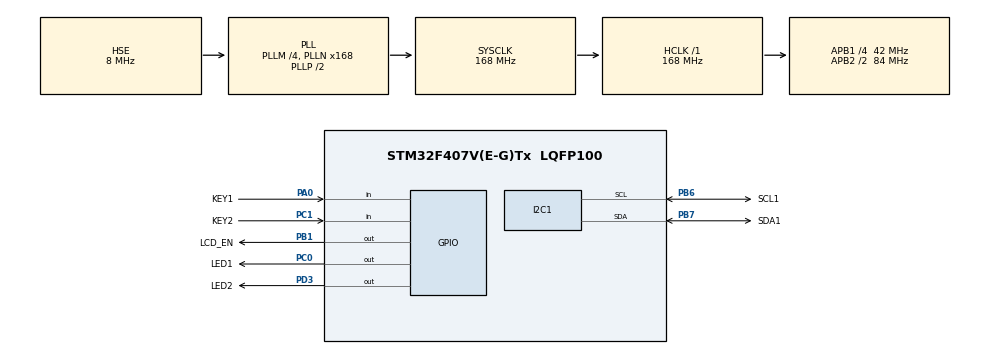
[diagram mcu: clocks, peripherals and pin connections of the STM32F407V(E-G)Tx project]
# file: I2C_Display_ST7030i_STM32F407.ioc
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FREERTOS.Tasks01=defaultTask,24,1024,StartDefaultTask,Default,NULL,Dynamic,NULL,NULL;myTask02,8,1024,StartTask02,Default,NULL,Dynamic,NULL,NULL
FREERTOS.configMINIMAL_STACK_SIZE=512
I2C1.I2C_Mode=I2C_Standard
Mcu.Family=STM32F4
Mcu.Name=STM32F407V(E-G)Tx
Mcu.Package=LQFP100
NVIC.I2C1_ER_IRQn=true\:5\:0\:false\:false\:true\:true\:true\:true
NVIC.I2C1_EV_IRQn=true\:5\:0\:false\:false\:true\:true\:true\:true
NVIC.PriorityGroup=NVIC_PRIORITYGROUP_4
NVIC.TIM7_IRQn=true\:0\:0\:false\:false\:true\:false\:false\:true
NVIC.TimeBase=TIM7_IRQn
NVIC.TimeBaseIP=TIM7
PA0-WKUP.GPIO_Label=KEY1
PA0-WKUP.GPIO_PuPd=GPIO_PULLDOWN
PA0-WKUP.Signal=GPIO_Input
PA13.Mode=Serial_Wire
PA13.Signal=SYS_JTMS-SWDIO
PA14.Mode=Serial_Wire
PA14.Signal=SYS_JTCK-SWCLK
PB1.GPIO_Label=LCD_EN
PB1.GPIO_PuPd=GPIO_PULLUP
PB1.GPIO_Speed=GPIO_SPEED_FREQ_HIGH
PB1.Signal=GPIO_Output
PB6.GPIO_Label=SCL1
PB6.Mode=I2C
PB6.Signal=I2C1_SCL
PB7.GPIO_Label=SDA1
PB7.Mode=I2C
PB7.Signal=I2C1_SDA
PC0.GPIO_Label=LED1
PC0.Signal=GPIO_Output
PC1.GPIO_Label=KEY2
PC1.GPIO_PuPd=GPIO_PULLDOWN
PC1.Signal=GPIO_Input
PD3.GPIO_Label=LED2
PD3.Signal=GPIO_Output
PH0-OSC_IN.Mode=HSE-External-Oscillator
PH0-OSC_IN.Signal=RCC_OSC_IN
PH1-OSC_OUT.Mode=HSE-External-Oscillator
PH1-OSC_OUT.Signal=RCC_OSC_OUT
ProjectManager.HeapSize=0x3000
ProjectManager.StackSize=0x6000
ProjectManager.TargetToolchain=TrueSTUDIO
RCC.48MHZClocksFreq_Value=84000000
RCC.AHBFreq_Value=168000000
RCC.APB1CLKDivider=RCC_HCLK_DIV4
RCC.APB1Freq_Value=42000000
RCC.APB1TimFreq_Value=84000000
RCC.APB2CLKDivider=RCC_HCLK_DIV2
RCC.APB2Freq_Value=84000000
RCC.APB2TimFreq_Value=168000000
RCC.CortexFreq_Value=168000000
RCC.HCLKFreq_Value=168000000
RCC.HSE_VALUE=8000000
RCC.HSI_VALUE=16000000
RCC.LSE_VALUE=32768
RCC.PLLM=4
RCC.PLLN=168
RCC.PLLSourceVirtual=RCC_PLLSOURCE_HSE
RCC.SYSCLKFreq_VALUE=168000000
RCC.SYSCLKSource=RCC_SYSCLKSOURCE_PLLCLK
RCC.VCOOutputFreq_Value=336000000
VP_FREERTOS_VS_CMSIS_V2.Mode=CMSIS_V2
VP_SYS_VS_tim7.Mode=TIM7
board=custom

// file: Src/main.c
/* USER CODE BEGIN Header */
/**
 ******************************************************************************
 * @file           : main.c
 * @brief          : Main program body
 ******************************************************************************
 * @attention
 *
 * <h2><center>&copy; Copyright (c) 2019 STMicroelectronics.
 * All rights reserved.</center></h2>
 *
 * This software component is licensed by ST under Ultimate Liberty license
 * SLA0044, the "License"; You may not use this file except in compliance with
 * the License. You may obtain a copy of the License at:
 *                             www.st.com/SLA0044
 *
 ******************************************************************************
 */
/* USER CODE END Header */

#include "main.h"
#include "cmsis_os.h"

/* USER CODE BEGIN Includes */

#include "ST7032i.h"

//#include "semphr.h"

/* USER CODE END Includes */

I2C_HandleTypeDef hi2c1;

osThreadId_t defaultTaskHandle;
osThreadId_t myTask02Handle;

void SystemClock_Config(void);
static void MX_GPIO_Init(void);
static void MX_I2C1_Init(void);
void StartDefaultTask(void *argument); // for v2
void StartTask02(void *argument); // for v2

int main(void)
{

	/* MCU Configuration--------------------------------------------------------*/

	/* Reset of all peripherals, Initializes the Flash interface and the Systick. */
	HAL_Init();

	/* Configure the system clock */
	SystemClock_Config();

	/* Initialize all configured peripherals */
	MX_GPIO_Init();
	MX_I2C1_Init();
	/* USER CODE BEGIN 2 */

	printf("start\n");

	/* USER CODE END 2 */

	osKernelInitialize(); // Initialize CMSIS-RTOS

	/* Create the thread(s) */
	/* definition and creation of defaultTask */
	const osThreadAttr_t defaultTask_attributes = {
			.name = "defaultTask",
			.priority = (osPriority_t) osPriorityNormal,
			.stack_size = 1024
	};
	defaultTaskHandle = osThreadNew(StartDefaultTask, NULL, &defaultTask_attributes);

	/* definition and creation of myTask02 */
	const osThreadAttr_t myTask02_attributes = {
			.name = "myTask02",
			.priority = (osPriority_t) osPriorityLow,
			.stack_size = 1024
	};
	myTask02Handle = osThreadNew(StartTask02, NULL, &myTask02_attributes);

	/* Start scheduler */
	osKernelStart();

	/* We should never get here as control is now taken by the scheduler */

	/* Infinite loop */
	while (1)
	{

	}
}

void SystemClock_Config(void)
{
	RCC_OscInitTypeDef RCC_OscInitStruct = {0};
	RCC_ClkInitTypeDef RCC_ClkInitStruct = {0};

	/** Configure the main internal regulator output voltage
	 */
	__HAL_RCC_PWR_CLK_ENABLE();
	__HAL_PWR_VOLTAGESCALING_CONFIG(PWR_REGULATOR_VOLTAGE_SCALE1);
	/** Initializes the CPU, AHB and APB busses clocks
	 */
	RCC_OscInitStruct.OscillatorType = RCC_OSCILLATORTYPE_HSE;
	RCC_OscInitStruct.HSEState = RCC_HSE_ON;
	RCC_OscInitStruct.PLL.PLLState = RCC_PLL_ON;
	RCC_OscInitStruct.PLL.PLLSource = RCC_PLLSOURCE_HSE;
	RCC_OscInitStruct.PLL.PLLM = 4;
	RCC_OscInitStruct.PLL.PLLN = 168;
	RCC_OscInitStruct.PLL.PLLP = RCC_PLLP_DIV2;
	RCC_OscInitStruct.PLL.PLLQ = 4;
	if (HAL_RCC_OscConfig(&RCC_OscInitStruct) != HAL_OK)
	{
		Error_Handler();
	}
	/** Initializes the CPU, AHB and APB busses clocks
	 */
	RCC_ClkInitStruct.ClockType = RCC_CLOCKTYPE_HCLK|RCC_CLOCKTYPE_SYSCLK
			|RCC_CLOCKTYPE_PCLK1|RCC_CLOCKTYPE_PCLK2;
	RCC_ClkInitStruct.SYSCLKSource = RCC_SYSCLKSOURCE_PLLCLK;
	RCC_ClkInitStruct.AHBCLKDivider = RCC_SYSCLK_DIV1;
	RCC_ClkInitStruct.APB1CLKDivider = RCC_HCLK_DIV4;
	RCC_ClkInitStruct.APB2CLKDivider = RCC_HCLK_DIV2;

	if (HAL_RCC_ClockConfig(&RCC_ClkInitStruct, FLASH_LATENCY_5) != HAL_OK)
	{
		Error_Handler();
	}
}

static void MX_I2C1_Init(void)
{

	hi2c1.Instance = I2C1;
	hi2c1.Init.ClockSpeed = 100000;
	hi2c1.Init.DutyCycle = I2C_DUTYCYCLE_2;
	hi2c1.Init.OwnAddress1 = 0;
	hi2c1.Init.AddressingMode = I2C_ADDRESSINGMODE_7BIT;
	hi2c1.Init.DualAddressMode = I2C_DUALADDRESS_DISABLE;
	hi2c1.Init.OwnAddress2 = 0;
	hi2c1.Init.GeneralCallMode = I2C_GENERALCALL_DISABLE;
	hi2c1.Init.NoStretchMode = I2C_NOSTRETCH_DISABLE;
	if (HAL_I2C_Init(&hi2c1) != HAL_OK)
	{
		Error_Handler();
	}

}

static void MX_GPIO_Init(void)
{
	GPIO_InitTypeDef GPIO_InitStruct = {0};

	/* GPIO Ports Clock Enable */
	__HAL_RCC_GPIOH_CLK_ENABLE();
	__HAL_RCC_GPIOC_CLK_ENABLE();
	__HAL_RCC_GPIOA_CLK_ENABLE();
	__HAL_RCC_GPIOB_CLK_ENABLE();
	__HAL_RCC_GPIOD_CLK_ENABLE();

	/*Configure GPIO pin Output Level */
	HAL_GPIO_WritePin(LED1_GPIO_Port, LED1_Pin, GPIO_PIN_RESET);

	/*Configure GPIO pin Output Level */
	HAL_GPIO_WritePin(LCD_EN_GPIO_Port, LCD_EN_Pin, GPIO_PIN_RESET);

	/*Configure GPIO pin Output Level */
	HAL_GPIO_WritePin(LED2_GPIO_Port, LED2_Pin, GPIO_PIN_RESET);

	/*Configure GPIO pin : LED1_Pin */
	GPIO_InitStruct.Pin = LED1_Pin;
	GPIO_InitStruct.Mode = GPIO_MODE_OUTPUT_PP;
	GPIO_InitStruct.Pull = GPIO_NOPULL;
	GPIO_InitStruct.Speed = GPIO_SPEED_FREQ_LOW;
	HAL_GPIO_Init(LED1_GPIO_Port, &GPIO_InitStruct);

	/*Configure GPIO pin : KEY2_Pin */
	GPIO_InitStruct.Pin = KEY2_Pin;
	GPIO_InitStruct.Mode = GPIO_MODE_INPUT;
	GPIO_InitStruct.Pull = GPIO_PULLDOWN;
	HAL_GPIO_Init(KEY2_GPIO_Port, &GPIO_InitStruct);

	/*Configure GPIO pin : KEY1_Pin */
	GPIO_InitStruct.Pin = KEY1_Pin;
	GPIO_InitStruct.Mode = GPIO_MODE_INPUT;
	GPIO_InitStruct.Pull = GPIO_PULLDOWN;
	HAL_GPIO_Init(KEY1_GPIO_Port, &GPIO_InitStruct);

	/*Configure GPIO pin : LCD_EN_Pin */
	GPIO_InitStruct.Pin = LCD_EN_Pin;
	GPIO_InitStruct.Mode = GPIO_MODE_OUTPUT_PP;
	GPIO_InitStruct.Pull = GPIO_PULLUP;
	GPIO_InitStruct.Speed = GPIO_SPEED_FREQ_HIGH;
	HAL_GPIO_Init(LCD_EN_GPIO_Port, &GPIO_InitStruct);

	/*Configure GPIO pin : LED2_Pin */
	GPIO_InitStruct.Pin = LED2_Pin;
	GPIO_InitStruct.Mode = GPIO_MODE_OUTPUT_PP;
	GPIO_InitStruct.Pull = GPIO_NOPULL;
	GPIO_InitStruct.Speed = GPIO_SPEED_FREQ_LOW;
	HAL_GPIO_Init(LED2_GPIO_Port, &GPIO_InitStruct);

}

void StartDefaultTask(void *argument)
{

	/* USER CODE BEGIN 5 */
	/* Infinite loop */
	osDelay(250);

	LCD_Init(&hi2c1);

	osDelay(250);

	printf("1 StartDefaultTask\n");

	/*uint8_t bb0[130]={0xC0, 0x00, 0x40,  0x00,0x00,0x00,0x00,0x00,0x00,0x00,0x00,0x00,0x00,0x00,0x00,0x00,0x00,0x00,0x00,0x00,0x00,0x00,0x00,0x00,0x00,0x00,0x00,0x00,0x00,0x00,0x00,0x00,0x00,0x00,0x00,0x00,0xF8,0xF8,0x18,0x30,0xE0,0xC0,0x00,0x08,0x18,0x30,0x60,0xC0,0xF8,0xF8,0x00,0x00,0xE0,0xE0,0x88,0x08,0xE0,0xE0,0x00,0x00,0xF0,0xF8,0x08,0x08,0xF8,0xF0,0x00,0x00,0x70,0xF8,0x88,0x88,0xF8,0xF8,0x00,0x00,0x08,0x08,0xF8,0xF8,0x08,0x08,0x00,0x00,0x10,0x18,0x08,0x08,0xF8,0xF0,0x00,0x00,0xF8,0xF8,0x18,0x30,0xE0,0xC0,0x00,0x00,0xF8,0xF8,0x80,0x80,0xF8,0xF8,0x00,0x00,0x00,0x00,0x00,0x00,0x00,0x00,0x00,0x00,0x00,0x00,0x00,0x00,0x00,0x00,0x00,0x00,0x00,0x00,0x00,0x00,0x00,0x00};
	uint8_t bb1[130]={0xC0, 0x00, 0x40,  0x00,0x00,0x00,0x00,0x00,0x00,0x00,0x00,0x00,0x00,0x00,0x00,0x00,0x00,0x00,0x00,0x00,0x00,0x00,0x00,0x00,0x00,0x00,0x00,0x00,0x00,0x00,0x00,0x00,0x00,0x00,0x00,0x00,0x0F,0x0F,0x01,0x01,0x0F,0x0F,0x00,0x08,0x0C,0x06,0x03,0x01,0x0F,0x0F,0x00,0x00,0x0F,0x0F,0x01,0x03,0x0F,0x0F,0x00,0x00,0x07,0x0F,0x08,0x08,0x0F,0x07,0x00,0x00,0x00,0x00,0x00,0x00,0x0F,0x0F,0x00,0x00,0x00,0x00,0x0F,0x0F,0x00,0x00,0x00,0x00,0x04,0x0C,0x08,0x08,0x0F,0x07,0x00,0x00,0x0F,0x0F,0x01,0x01,0x0F,0x0F,0x00,0x00,0x0F,0x0F,0x00,0x00,0x0F,0x0F,0x00,0x00,0x00,0x00,0x00,0x00,0x00,0x00,0x00,0x00,0x00,0x00,0x00,0x00,0x00,0x00,0x00,0x00,0x00,0x00,0x00,0x00,0x00,0x00};
	uint8_t bb2[130]={0xC0, 0x00, 0x40,  0x00,0x00,0x00,0x00,0x00,0x00,0x00,0x00,0x00,0x00,0x00,0x00,0x00,0x00,0x00,0x00,0x00,0xF8,0xF8,0x88,0x88,0xF8,0x70,0x00,0x00,0xF8,0xF8,0xC0,0x80,0xF8,0xF8,0x00,0x00,0xF8,0xF8,0x80,0x80,0xF8,0xF8,0x00,0x00,0xF8,0xF8,0x18,0x30,0xE0,0xC0,0x00,0x00,0x70,0xF8,0x88,0x88,0xF8,0xF8,0x00,0x00,0xF0,0xF8,0x08,0x08,0xF8,0xF0,0x00,0x00,0xF8,0xF8,0x08,0xF8,0xF0,0x00,0x00,0x00,0xF8,0xF8,0x80,0x80,0xF8,0x78,0x00,0x00,0x70,0xF8,0x88,0x88,0xF8,0xF8,0x00,0x00,0xF0,0xF8,0x08,0x08,0xF8,0xF0,0x00,0x00,0x08,0x88,0x88,0x88,0xF8,0xF8,0x00,0x00,0xF0,0xF8,0x08,0x08,0xF8,0xF0,0x00,0x00,0x00,0x00,0x00,0x00,0x00,0x00,0x00,0x00,0x00,0x00,0x00,0x00,0x00,0x00};
	uint8_t bb3[130]={0xC0, 0x00, 0x40,  0x00,0x00,0x00,0x00,0x00,0x00,0x00,0x00,0x00,0x00,0x00,0x00,0x00,0x00,0x00,0x00,0x00,0x0F,0x0F,0x03,0x06,0x0C,0x08,0x00,0x00,0x0F,0x0F,0x00,0x01,0x0F,0x0F,0x00,0x00,0x0F,0x0F,0x00,0x00,0x0F,0x0F,0x00,0x00,0x0F,0x0F,0x01,0x01,0x0F,0x0F,0x00,0x00,0x07,0x0F,0x08,0x08,0x0F,0x0F,0x00,0x00,0x07,0x0F,0x08,0x08,0x0F,0x07,0x00,0x0E,0x0F,0x03,0x02,0x03,0x0F,0x0E,0x00,0x00,0x01,0x03,0x06,0x0C,0x08,0x08,0x00,0x00,0x00,0x00,0x00,0x00,0x0F,0x0F,0x00,0x00,0x07,0x0F,0x08,0x08,0x0F,0x07,0x00,0x00,0x07,0x0F,0x08,0x08,0x0F,0x0F,0x00,0x00,0x07,0x0F,0x08,0x08,0x0F,0x07,0x00,0x00,0x00,0x00,0x00,0x00,0x00,0x00,0x00,0x00,0x00,0x00,0x00,0x00,0x00,0x00};
	 */

	for(;;)
	{
		if(HAL_GPIO_ReadPin(KEY2_GPIO_Port,KEY2_Pin) == SET)
		{
			HAL_GPIO_WritePin(KEY2_GPIO_Port,KEY2_Pin,RESET);

			HAL_Delay(1000);
			vTaskDelay(1);

			LCD_print_String("123456789012345678901\n",0,LCD_REVERSE_SYMBOLS_ON,LCD_REVERSE_SYMBOL_ON);
			LCD_print_String("Hello World 123456789\n",1,LCD_REVERSE_SYMBOLS_OFF,LCD_REVERSE_SYMBOL_OFF);
			LCD_print_String("Hello World 2\n",2,LCD_REVERSE_SYMBOLS_ON,LCD_REVERSE_SYMBOL_OFF);
			LCD_print_String("Hello World 3\n",3,LCD_REVERSE_SYMBOLS_OFF,LCD_REVERSE_SYMBOL_OFF);

		}
		else if(HAL_GPIO_ReadPin(KEY1_GPIO_Port,KEY1_Pin) == SET)
		{
			HAL_GPIO_WritePin(KEY1_GPIO_Port,KEY1_Pin,RESET);

			HAL_Delay(1000);
			vTaskDelay(1);
			LCD_clear(0);
			LCD_clear(1);
			LCD_clear(2);
			LCD_clear(3);

		}

		vTaskDelay(1);
	}
	/* USER CODE END 5 */
}

void StartTask02(void *argument)
{
	/* USER CODE BEGIN StartTask02 */
	/* Infinite loop */
	char buf[100];

	for(;;)
	{
		/* NOT USED */
		vTaskDelay(1);
	}

	/* USER CODE END StartTask02 */
}

void HAL_TIM_PeriodElapsedCallback(TIM_HandleTypeDef *htim)
{
	if (htim->Instance == TIM7) {
		HAL_IncTick();
	}
}

void Error_Handler(void)
{
	/* USER CODE BEGIN Error_Handler_Debug */
	/* User can add his own implementation to report the HAL error return state */
	printf("Error_Handler\r\n");
	/* USER CODE END Error_Handler_Debug */
}

#ifdef  USE_FULL_ASSERT
/**
 * @brief  Reports the name of the source file and the source line number
 *         where the assert_param error has occurred.
 * @param  file: pointer to the source file name
 * @param  line: assert_param error line source number
 * @retval None
 */
void assert_failed(uint8_t *file, uint32_t line)
{
	/* USER CODE BEGIN 6 */
	/* User can add his own implementation to report the file name and line number,
     tex: printf("Wrong parameters value: file %s on line %d\r\n", file, line) */
	printf("Wrong parameters value: file %s on line %d\r\n", file, line);
	/* USER CODE END 6 */
}
#endif /* USE_FULL_ASSERT */

/************************ (C) COPYRIGHT STMicroelectronics *****END OF FILE****/
